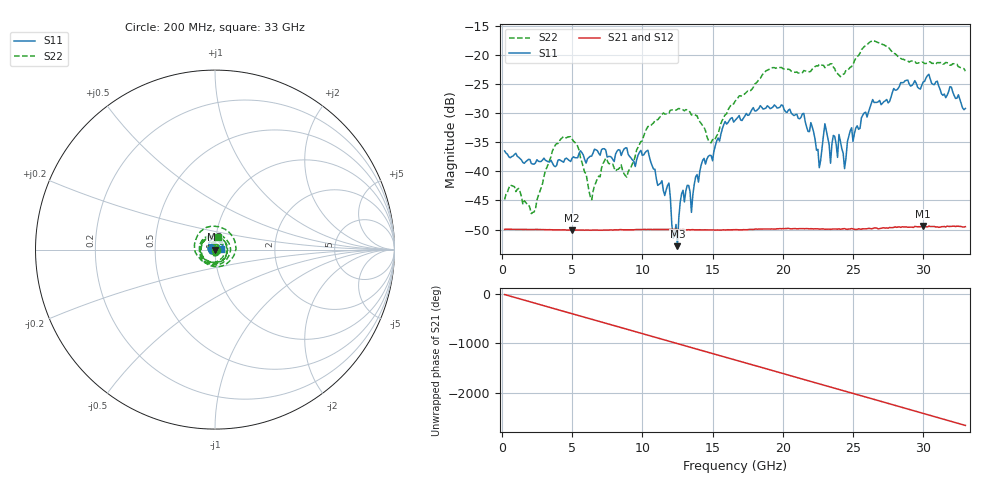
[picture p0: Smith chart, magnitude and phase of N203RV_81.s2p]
# GHZ S RI R 50
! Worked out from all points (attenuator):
!   329 points, 200 MHz to 33 GHz, reference 50 ohm
!   highest |S21| = -49.39 dB at 30 GHz (marker M1); lowest = -50.1 dB at 5 GHz (marker M2)
!   lowest |S11| = -52.9 dB at 12.5 GHz (marker M3), VSWR 1.00, Z = 49.8 - j0.0206 ohm
!   |S11| at or under -10 dB: start of sweep to end of sweep
!   |S22| runs from -47.3 to -17.5 dB; largest |S21 - S12| = 7.2e-05
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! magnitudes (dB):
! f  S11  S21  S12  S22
! 200 MHz  -36.5  -50.0  -49.9  -44.9
! 2.3 GHz  -38.8  -50.0  -50.0  -47.0
! 5 GHz  -37.8  -50.1  -50.1  -34.4
! 5.7 GHz  -36.8  -50.1  -50.1  -38.4
! 6.4 GHz  -37.4  -50.1  -50.1  -44.9
! 10.4 GHz  -36.4  -50.0  -50.0  -32.3
! 11.2 GHz  -42.2  -50.0  -50.0  -30.9
! 11.9 GHz  -42.0  -50.0  -50.0  -30.0
! 12.5 GHz  -52.9  -50.0  -50.0  -29.4
! 12.9 GHz  -43.3  -50.0  -50.0  -29.4
! 13.5 GHz  -47.1  -50.0  -50.0  -30.3
! 14.9 GHz  -37.3  -50.1  -50.0  -35.1
! 16.6 GHz  -31.3  -50.0  -50.0  -28.0
! 22.1 GHz  -32.4  -49.9  -49.8  -22.4
! 22.6 GHz  -39.4  -49.9  -49.9  -21.6
! 23 GHz  -31.8  -50.0  -49.9  -22.2
! 23.4 GHz  -38.6  -50.0  -49.9  -21.5
! 24.4 GHz  -39.5  -49.8  -49.8  -23.2
! 24.9 GHz  -32.5  -49.8  -49.9  -22.0
! 27.6 GHz  -28.0  -49.6  -49.7  -19.0
! 30 GHz  -24.6  -49.4  -49.5  -21.3
! 33 GHz  -29.2  -49.5  -49.5  -22.8
